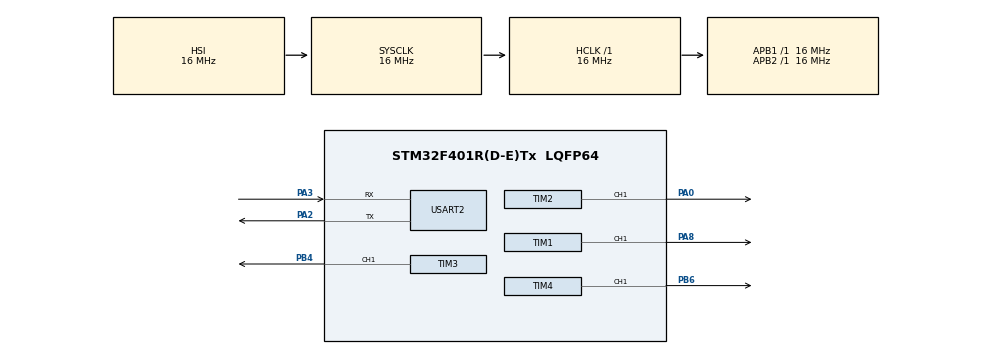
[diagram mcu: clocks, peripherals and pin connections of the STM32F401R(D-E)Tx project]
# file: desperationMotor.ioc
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Mcu.Family=STM32F4
Mcu.Name=STM32F401R(D-E)Tx
Mcu.Package=LQFP64
NVIC.PriorityGroup=NVIC_PRIORITYGROUP_4
PA0-WKUP.Signal=S_TIM2_CH1_ETR
PA2.Mode=Asynchronous
PA2.Signal=USART2_TX
PA3.Mode=Asynchronous
PA3.Signal=USART2_RX
PA8.Signal=S_TIM1_CH1
PB4.Signal=S_TIM3_CH1
PB6.Signal=S_TIM4_CH1
ProjectManager.HeapSize=0x200
ProjectManager.StackSize=0x400
ProjectManager.TargetToolchain=STM32CubeIDE
RCC.AHBFreq_Value=16000000
RCC.APB1Freq_Value=16000000
RCC.APB2Freq_Value=16000000
RCC.CortexFreq_Value=16000000
RCC.HSE_VALUE=25000000
RCC.HSI_VALUE=16000000
RCC.LSE_VALUE=32768
RCC.SYSCLKFreq_VALUE=16000000
RCC.VCOOutputFreq_Value=192000000
SH.S_TIM1_CH1.0=TIM1_CH1,PWM Generation1 CH1
SH.S_TIM2_CH1_ETR.0=TIM2_CH1,PWM Generation1 CH1
SH.S_TIM3_CH1.0=TIM3_CH1,PWM Generation1 CH1
SH.S_TIM4_CH1.0=TIM4_CH1,PWM Generation1 CH1
TIM1.Channel-PWM\ Generation1\ CH1=TIM_CHANNEL_1
TIM1.Period=160
TIM1.Prescaler=4
TIM2.Channel-PWM\ Generation1\ CH1=TIM_CHANNEL_1
TIM2.Period=160
TIM2.Prescaler=4
TIM3.Channel-PWM\ Generation1\ CH1=TIM_CHANNEL_1
TIM3.Period=180
TIM3.Prescaler=4
TIM4.Channel-PWM\ Generation1\ CH1=TIM_CHANNEL_1
TIM4.Period=160
TIM4.Prescaler=4
USART2.VirtualMode=VM_ASYNC
board=custom

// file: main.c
/* USER CODE BEGIN Header */
/**
  ******************************************************************************
  * @file           : main.c
  * @brief          : Main program body
  ******************************************************************************
  * @attention
  *
  * <h2><center>&copy; Copyright (c) 2020 STMicroelectronics.
  * All rights reserved.</center></h2>
  *
  * This software component is licensed by ST under BSD 3-Clause license,
  * the "License"; You may not use this file except in compliance with the
  * License. You may obtain a copy of the License at:
  *                        opensource.org/licenses/BSD-3-Clause
  *
  ******************************************************************************
  */
/* USER CODE END Header */

#include "main.h"

/* USER CODE BEGIN Includes */
#include "string.h"
#include "stdio.h"
#include "motor.h"
/* USER CODE END Includes */

TIM_HandleTypeDef htim1;
TIM_HandleTypeDef htim2;
TIM_HandleTypeDef htim3;
TIM_HandleTypeDef htim4;

UART_HandleTypeDef huart2;

/* USER CODE BEGIN PV */
int pwm1 = 0;
int pwm2 = 0;

int buf[20];
/* USER CODE END PV */

void SystemClock_Config(void);
static void MX_GPIO_Init(void);
static void MX_TIM3_Init(void);
static void MX_TIM4_Init(void);
static void MX_USART2_UART_Init(void);
static void MX_TIM1_Init(void);
static void MX_TIM2_Init(void);

int main(void)
{

  /* MCU Configuration--------------------------------------------------------*/

  /* Reset of all peripherals, Initializes the Flash interface and the Systick. */
  HAL_Init();

  /* Configure the system clock */
  SystemClock_Config();

  /* Initialize all configured peripherals */
  MX_GPIO_Init();
  MX_TIM3_Init();
  MX_TIM4_Init();
  MX_USART2_UART_Init();
  MX_TIM1_Init();
  MX_TIM2_Init();
  /* USER CODE BEGIN 2 */
  HAL_TIM_PWM_Start(&htim1, TIM_CHANNEL_1);
  HAL_TIM_PWM_Start(&htim2, TIM_CHANNEL_1);
  HAL_TIM_PWM_Start(&htim3, TIM_CHANNEL_1);
  HAL_TIM_PWM_Start(&htim4, TIM_CHANNEL_1);
  /* USER CODE END 2 */

  /* Infinite loop */
  /* USER CODE BEGIN WHILE */
  __HAL_TIM_SetCompare(&htim1, TIM_CHANNEL_1, 0);
  __HAL_TIM_SetCompare(&htim2, TIM_CHANNEL_1, 0);
  __HAL_TIM_SetCompare(&htim3, TIM_CHANNEL_1, 0);
  __HAL_TIM_SetCompare(&htim4, TIM_CHANNEL_1, 0);
  motorInit(&htim1, &htim2, &htim3, &htim4);
  while (1)
  {
	  /*
	  //minimum - 20
	  //maximum - mathematically it should be 178, but ive gone up to 150 no problem
	  pwm1 = 150;
	  pwm2 = 0;
	  __HAL_TIM_SetCompare(&htim3, TIM_CHANNEL_1, pwm1);
	  __HAL_TIM_SetCompare(&htim4, TIM_CHANNEL_1, pwm2);
	  HAL_Delay(100);
	  */
	  setSpeed(0, 0, 0, 20);
	  HAL_Delay(500);

	  setSpeed(0, 0, 0, 50);
	  HAL_Delay(500);

	  setSpeed(0, 0, 0, 100);
	  HAL_Delay(500);

	  stopMotors();

	  setSpeed(0, 0, 20, 0);
	  HAL_Delay(500);

	  setSpeed(0, 0, 50, 0);
	  HAL_Delay(500);

	  setSpeed(0, 0, 100, 0);
	  HAL_Delay(500);

	  stopMotors();
    /* USER CODE END WHILE */

  }
}

void SystemClock_Config(void)
{
  RCC_OscInitTypeDef RCC_OscInitStruct = {0};
  RCC_ClkInitTypeDef RCC_ClkInitStruct = {0};

  /** Configure the main internal regulator output voltage
  */
  __HAL_RCC_PWR_CLK_ENABLE();
  __HAL_PWR_VOLTAGESCALING_CONFIG(PWR_REGULATOR_VOLTAGE_SCALE2);
  /** Initializes the CPU, AHB and APB busses clocks
  */
  RCC_OscInitStruct.OscillatorType = RCC_OSCILLATORTYPE_HSI;
  RCC_OscInitStruct.HSIState = RCC_HSI_ON;
  RCC_OscInitStruct.HSICalibrationValue = RCC_HSICALIBRATION_DEFAULT;
  RCC_OscInitStruct.PLL.PLLState = RCC_PLL_NONE;
  if (HAL_RCC_OscConfig(&RCC_OscInitStruct) != HAL_OK)
  {
    Error_Handler();
  }
  /** Initializes the CPU, AHB and APB busses clocks
  */
  RCC_ClkInitStruct.ClockType = RCC_CLOCKTYPE_HCLK|RCC_CLOCKTYPE_SYSCLK
                              |RCC_CLOCKTYPE_PCLK1|RCC_CLOCKTYPE_PCLK2;
  RCC_ClkInitStruct.SYSCLKSource = RCC_SYSCLKSOURCE_HSI;
  RCC_ClkInitStruct.AHBCLKDivider = RCC_SYSCLK_DIV1;
  RCC_ClkInitStruct.APB1CLKDivider = RCC_HCLK_DIV1;
  RCC_ClkInitStruct.APB2CLKDivider = RCC_HCLK_DIV1;

  if (HAL_RCC_ClockConfig(&RCC_ClkInitStruct, FLASH_LATENCY_0) != HAL_OK)
  {
    Error_Handler();
  }
}

static void MX_TIM1_Init(void)
{

  TIM_MasterConfigTypeDef sMasterConfig = {0};
  TIM_OC_InitTypeDef sConfigOC = {0};
  TIM_BreakDeadTimeConfigTypeDef sBreakDeadTimeConfig = {0};

  htim1.Instance = TIM1;
  htim1.Init.Prescaler = 4;
  htim1.Init.CounterMode = TIM_COUNTERMODE_UP;
  htim1.Init.Period = 160;
  htim1.Init.ClockDivision = TIM_CLOCKDIVISION_DIV1;
  htim1.Init.RepetitionCounter = 0;
  htim1.Init.AutoReloadPreload = TIM_AUTORELOAD_PRELOAD_DISABLE;
  if (HAL_TIM_PWM_Init(&htim1) != HAL_OK)
  {
    Error_Handler();
  }
  sMasterConfig.MasterOutputTrigger = TIM_TRGO_RESET;
  sMasterConfig.MasterSlaveMode = TIM_MASTERSLAVEMODE_DISABLE;
  if (HAL_TIMEx_MasterConfigSynchronization(&htim1, &sMasterConfig) != HAL_OK)
  {
    Error_Handler();
  }
  sConfigOC.OCMode = TIM_OCMODE_PWM1;
  sConfigOC.Pulse = 0;
  sConfigOC.OCPolarity = TIM_OCPOLARITY_HIGH;
  sConfigOC.OCNPolarity = TIM_OCNPOLARITY_HIGH;
  sConfigOC.OCFastMode = TIM_OCFAST_DISABLE;
  sConfigOC.OCIdleState = TIM_OCIDLESTATE_RESET;
  sConfigOC.OCNIdleState = TIM_OCNIDLESTATE_RESET;
  if (HAL_TIM_PWM_ConfigChannel(&htim1, &sConfigOC, TIM_CHANNEL_1) != HAL_OK)
  {
    Error_Handler();
  }
  sBreakDeadTimeConfig.OffStateRunMode = TIM_OSSR_DISABLE;
  sBreakDeadTimeConfig.OffStateIDLEMode = TIM_OSSI_DISABLE;
  sBreakDeadTimeConfig.LockLevel = TIM_LOCKLEVEL_OFF;
  sBreakDeadTimeConfig.DeadTime = 0;
  sBreakDeadTimeConfig.BreakState = TIM_BREAK_DISABLE;
  sBreakDeadTimeConfig.BreakPolarity = TIM_BREAKPOLARITY_HIGH;
  sBreakDeadTimeConfig.AutomaticOutput = TIM_AUTOMATICOUTPUT_DISABLE;
  if (HAL_TIMEx_ConfigBreakDeadTime(&htim1, &sBreakDeadTimeConfig) != HAL_OK)
  {
    Error_Handler();
  }
  HAL_TIM_MspPostInit(&htim1);

}

static void MX_TIM2_Init(void)
{

  TIM_MasterConfigTypeDef sMasterConfig = {0};
  TIM_OC_InitTypeDef sConfigOC = {0};

  htim2.Instance = TIM2;
  htim2.Init.Prescaler = 4;
  htim2.Init.CounterMode = TIM_COUNTERMODE_UP;
  htim2.Init.Period = 160;
  htim2.Init.ClockDivision = TIM_CLOCKDIVISION_DIV1;
  htim2.Init.AutoReloadPreload = TIM_AUTORELOAD_PRELOAD_DISABLE;
  if (HAL_TIM_PWM_Init(&htim2) != HAL_OK)
  {
    Error_Handler();
  }
  sMasterConfig.MasterOutputTrigger = TIM_TRGO_RESET;
  sMasterConfig.MasterSlaveMode = TIM_MASTERSLAVEMODE_DISABLE;
  if (HAL_TIMEx_MasterConfigSynchronization(&htim2, &sMasterConfig) != HAL_OK)
  {
    Error_Handler();
  }
  sConfigOC.OCMode = TIM_OCMODE_PWM1;
  sConfigOC.Pulse = 0;
  sConfigOC.OCPolarity = TIM_OCPOLARITY_HIGH;
  sConfigOC.OCFastMode = TIM_OCFAST_DISABLE;
  if (HAL_TIM_PWM_ConfigChannel(&htim2, &sConfigOC, TIM_CHANNEL_1) != HAL_OK)
  {
    Error_Handler();
  }
  HAL_TIM_MspPostInit(&htim2);

}

static void MX_TIM3_Init(void)
{

  TIM_MasterConfigTypeDef sMasterConfig = {0};
  TIM_OC_InitTypeDef sConfigOC = {0};

  htim3.Instance = TIM3;
  htim3.Init.Prescaler = 4;
  htim3.Init.CounterMode = TIM_COUNTERMODE_UP;
  htim3.Init.Period = 180;
  htim3.Init.ClockDivision = TIM_CLOCKDIVISION_DIV1;
  htim3.Init.AutoReloadPreload = TIM_AUTORELOAD_PRELOAD_DISABLE;
  if (HAL_TIM_PWM_Init(&htim3) != HAL_OK)
  {
    Error_Handler();
  }
  sMasterConfig.MasterOutputTrigger = TIM_TRGO_RESET;
  sMasterConfig.MasterSlaveMode = TIM_MASTERSLAVEMODE_DISABLE;
  if (HAL_TIMEx_MasterConfigSynchronization(&htim3, &sMasterConfig) != HAL_OK)
  {
    Error_Handler();
  }
  sConfigOC.OCMode = TIM_OCMODE_PWM1;
  sConfigOC.Pulse = 0;
  sConfigOC.OCPolarity = TIM_OCPOLARITY_HIGH;
  sConfigOC.OCFastMode = TIM_OCFAST_DISABLE;
  if (HAL_TIM_PWM_ConfigChannel(&htim3, &sConfigOC, TIM_CHANNEL_1) != HAL_OK)
  {
    Error_Handler();
  }
  HAL_TIM_MspPostInit(&htim3);

}

static void MX_TIM4_Init(void)
{

  TIM_MasterConfigTypeDef sMasterConfig = {0};
  TIM_OC_InitTypeDef sConfigOC = {0};

  htim4.Instance = TIM4;
  htim4.Init.Prescaler = 4;
  htim4.Init.CounterMode = TIM_COUNTERMODE_UP;
  htim4.Init.Period = 160;
  htim4.Init.ClockDivision = TIM_CLOCKDIVISION_DIV1;
  htim4.Init.AutoReloadPreload = TIM_AUTORELOAD_PRELOAD_DISABLE;
  if (HAL_TIM_PWM_Init(&htim4) != HAL_OK)
  {
    Error_Handler();
  }
  sMasterConfig.MasterOutputTrigger = TIM_TRGO_RESET;
  sMasterConfig.MasterSlaveMode = TIM_MASTERSLAVEMODE_DISABLE;
  if (HAL_TIMEx_MasterConfigSynchronization(&htim4, &sMasterConfig) != HAL_OK)
  {
    Error_Handler();
  }
  sConfigOC.OCMode = TIM_OCMODE_PWM1;
  sConfigOC.Pulse = 0;
  sConfigOC.OCPolarity = TIM_OCPOLARITY_HIGH;
  sConfigOC.OCFastMode = TIM_OCFAST_DISABLE;
  if (HAL_TIM_PWM_ConfigChannel(&htim4, &sConfigOC, TIM_CHANNEL_1) != HAL_OK)
  {
    Error_Handler();
  }
  HAL_TIM_MspPostInit(&htim4);

}

static void MX_USART2_UART_Init(void)
{

  huart2.Instance = USART2;
  huart2.Init.BaudRate = 115200;
  huart2.Init.WordLength = UART_WORDLENGTH_8B;
  huart2.Init.StopBits = UART_STOPBITS_1;
  huart2.Init.Parity = UART_PARITY_NONE;
  huart2.Init.Mode = UART_MODE_TX_RX;
  huart2.Init.HwFlowCtl = UART_HWCONTROL_NONE;
  huart2.Init.OverSampling = UART_OVERSAMPLING_16;
  if (HAL_UART_Init(&huart2) != HAL_OK)
  {
    Error_Handler();
  }

}

static void MX_GPIO_Init(void)
{

  /* GPIO Ports Clock Enable */
  __HAL_RCC_GPIOA_CLK_ENABLE();
  __HAL_RCC_GPIOB_CLK_ENABLE();

}

void Error_Handler(void)
{
}

/************************ (C) COPYRIGHT STMicroelectronics *****END OF FILE****/
